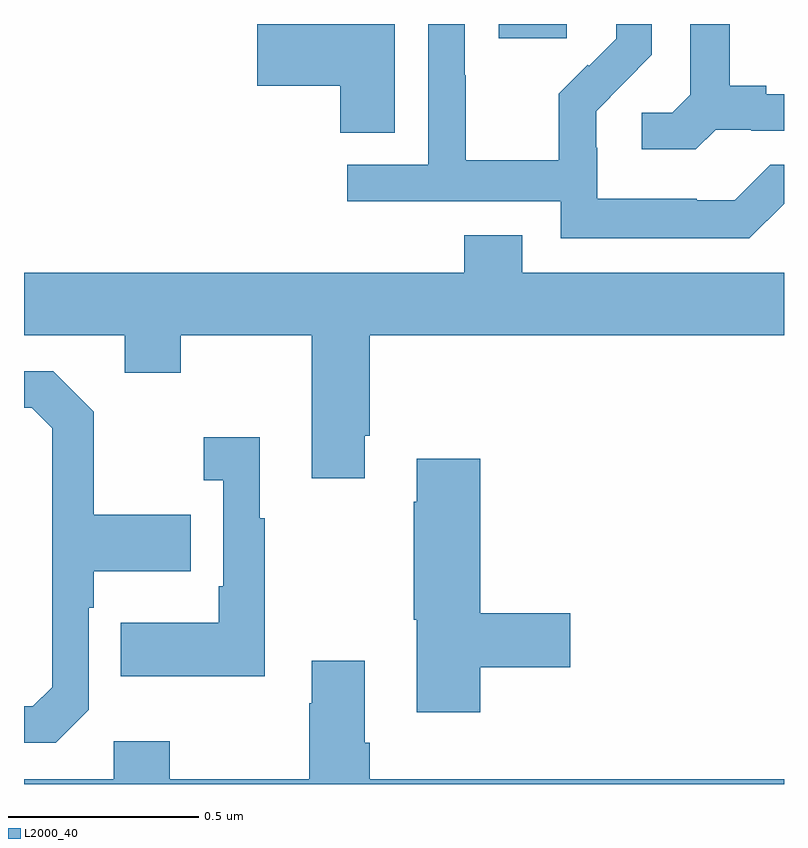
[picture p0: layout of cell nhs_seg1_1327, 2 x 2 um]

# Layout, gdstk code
import gdstk
lib = gdstk.Library(unit=1e-6, precision=1e-09)
def R(c, l, rs):  # rectangles x0, y0, x1, y1
    for r in rs: c.add(gdstk.rectangle(r[:2], r[2:], *l))
def P(c, l, *ps):  # polygons
    for p in ps: c.add(gdstk.Polygon(p, *l))
L2000_40 = (2000, 40)

nhs_seg1_1327 = lib.new_cell('nhs_seg1_1327')
R(nhs_seg1_1327, L2000_40, [(128.249,571.161,128.428,571.199)])
P(nhs_seg1_1327, L2000_40, [(127.975,571.199),(127.614,571.199),(127.614,571.037),(127.832,571.037),(127.832,570.913),(127.975,570.913)],
  [(128.82,570.921),(128.914,570.921),(128.914,570.918),(129,570.918),(129,571.014),(128.953,571.014),(128.953,571.037),(128.857,571.037),(128.857,571.199),(128.753,571.199),(128.753,571.013),(128.706,570.966),(128.625,570.966),(128.625,570.869),(128.768,570.869)],
  [(129,570.726),(129,570.828),(128.964,570.828),(128.871,570.735),(128.771,570.735),(128.771,570.739),(128.508,570.739),(128.508,570.873),(128.506,570.873),(128.506,570.97),(128.58,571.044),(128.579,571.045),(128.652,571.118),(128.652,571.199),(128.558,571.199),(128.558,571.16),(128.487,571.089),(128.484,571.092),(128.407,571.015),(128.407,570.841),(128.163,570.841),(128.163,571.064),(128.16,571.064),(128.16,571.199),(128.064,571.199),(128.064,570.828),(127.851,570.828),(127.851,570.732),(128.412,570.732),(128.412,570.635),(128.909,570.635)],
  [(127.897,570.115),(127.91,570.115),(127.91,570.38),(129,570.38),(129,570.544),(128.311,570.544),(128.311,570.643),(128.159,570.643),(128.159,570.544),(127,570.544),(127,570.38),(127.265,570.38),(127.265,570.281),(127.413,570.281),(127.413,570.38),(127.757,570.38),(127.757,570.003),(127.897,570.003)],
  [(127.17,569.394),(127.17,569.663),(127.183,569.663),(127.183,569.759),(127.439,569.759),(127.439,569.907),(127.183,569.907),(127.183,570.179),(127.077,570.285),(127,570.285),(127,570.189),(127.02,570.189),(127.074,570.135),(127.074,569.454),(127.023,569.403),(127,569.403),(127,569.307),(127.083,569.307)],
  [(127.633,569.899),(127.621,569.899),(127.621,570.112),(127.473,570.112),(127.473,569.999),(127.524,569.999),(127.524,569.719),(127.512,569.719),(127.512,569.623),(127.255,569.623),(127.255,569.483),(127.633,569.483)],
  [(128.201,569.506),(128.437,569.506),(128.437,569.648),(128.201,569.648),(128.201,570.055),(128.033,570.055),(128.033,569.942),(128.026,569.942),(128.026,569.631),(128.033,569.631),(128.033,569.388),(128.201,569.388)],
  [(129,569.212),(127.91,569.212),(127.91,569.308),(127.897,569.308),(127.897,569.524),(127.757,569.524),(127.757,569.411),(127.75,569.411),(127.75,569.212),(127.383,569.212),(127.383,569.311),(127.236,569.311),(127.236,569.212),(127,569.212),(127,569.199),(129,569.199)])

lib.write_gds('nhs_seg1_1327.gds')
